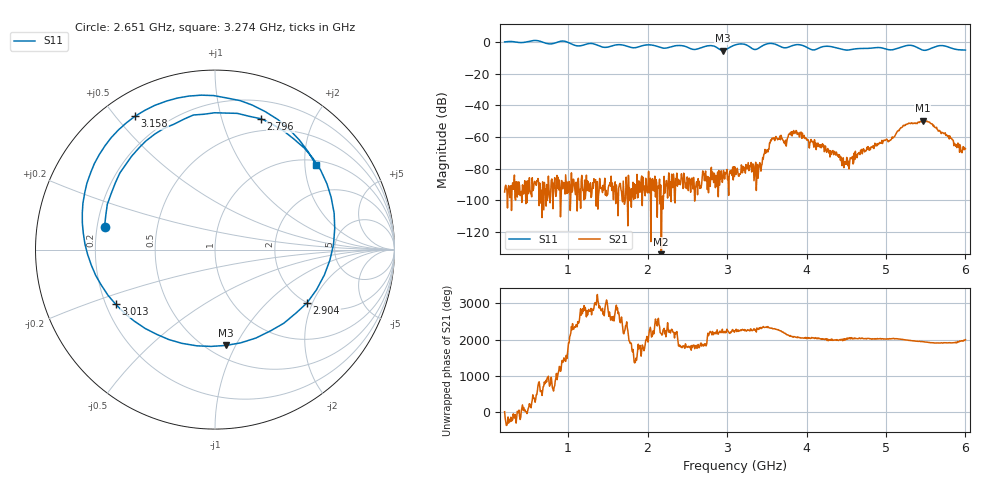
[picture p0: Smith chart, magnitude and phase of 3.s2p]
! NanoVNA-App by OneOfEleven et al v1.1.209 (+OD15)
! Date: 2024-07-30 15:14:08
! Start: 200MHz Stop: 6GHz Points: 801
! S-Parameter data: F S11 S21 S12 S22
# Hz S RI R 50
!  Frequency  S11_Real  S11_Imag  S21_Real  S21_Imag  S12_Real  S12_Imag  S22_Real  S22_Imag
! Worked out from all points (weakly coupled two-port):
!   801 points, 200 MHz to 6 GHz, reference 50 ohm
!   highest |S21| = -49.68 dB at 5.463 GHz (marker M1); lowest = -154.6 dB at 2.172 GHz (marker M2)
!   lowest |S11| = -5.4 dB at 2.948 GHz (marker M3), VSWR 3.32, Z = 30.5 - j45.8 ohm
!   |S11| at or under -10 dB: nowhere
!   S12 and S22 are empty: the file has one direction only
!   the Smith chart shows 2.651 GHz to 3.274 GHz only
!   S11 on the Smith chart (normalised r, x): 2.651 GHz: 0.23, +0.10; 2.796 GHz: 0.37, +1.35; 2.904 GHz: 1.99, -1.82; 3.013 GHz: 0.24, -0.24; 3.158 GHz: 0.09, +0.56; 3.274 GHz: 1.12, +2.28
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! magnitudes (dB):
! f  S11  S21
! 200 MHz  0.1  -94.8
! 1.171 GHz  -2.2  -84.3
! 2.136 GHz  -3.0  -90.8
! 2.172 GHz  -3.6  -154.6
! 2.651 GHz  -4.0  -88.1
! 2.796 GHz  -2.2  -80.9
! 2.904 GHz  -4.5  -90.6
! 2.948 GHz  -5.4  -85.8
! 3.013 GHz  -4.0  -85.0
! 3.1 GHz  -1.9  -79.0
! 3.158 GHz  -1.2  -83.4
! 3.274 GHz  -2.7  -81.3
! 3.412 GHz  -3.5  -76.3
! 3.593 GHz  -1.2  -60.7
! 3.731 GHz  -3.7  -64.4
! 3.854 GHz  -1.8  -57.9
! 4.072 GHz  -4.9  -62.8
! 4.514 GHz  -5.1  -73.9
! 5.036 GHz  -4.9  -62.6
! 5.239 GHz  -2.5  -52.8
! 5.463 GHz  -5.1  -49.7
! 6 GHz  -5.1  -67.5
